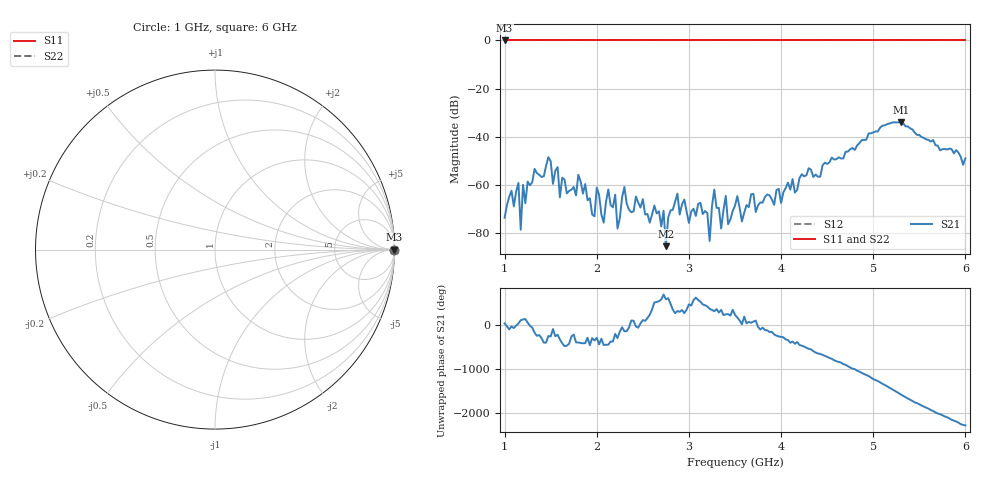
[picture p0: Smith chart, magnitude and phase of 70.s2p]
!Keysight Technologies N9926A: A.08.19
!Date: Sunday, 01 March 2026 13:33:32
!Timezone: (GMT-06:00) Central Time (US & Canada)
!Model: N9926A
!Serial: MY53102721
!GPS Latitude:
!GPS Longitude:
!GPS TimeStamp: 0001-01-01 00:00:00Z
!GPS Seconds Since Last Read: 0
!CHECKSUM:1704124798
!Correction: S11()S21(ON U)S12()S22()
!S2P File: Measurements:S11,S21,S12,S22:
# Hz S DB R 50
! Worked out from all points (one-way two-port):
!   201 points, 1 GHz to 6 GHz, reference 50 ohm
!   highest |S21| = -33.84 dB at 5.3 GHz (marker M1); lowest = -85.3 dB at 2.75 GHz (marker M2)
!   lowest |S11| = 0.0 dB at 1 GHz (marker M3)
!   |S11| at or under -10 dB: nowhere
!   |S22| runs from 0.0 to 0.0 dB; largest |S21 - S12| = 1
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1e9  0.00 0.0  -73.58 37.8  0.00 0.0  0.00 0.0
1.15e9  0.00 0.0  -59.10 35.7  0.00 0.0  0.00 0.0
1.175e9  0.00 0.0  -78.50 108.1  0.00 0.0  0.00 0.0
1.2e9  0.00 0.0  -59.88 127.1  0.00 0.0  0.00 0.0
1.475e9  0.00 0.0  -48.39 111.3  0.00 0.0  0.00 0.0
1.6e9  0.00 0.0  -65.09 33.5  0.00 0.0  0.00 0.0
1.85e9  0.00 0.0  -63.53 -55.4  0.00 0.0  0.00 0.0
2.075e9  0.00 0.0  -75.57 -93.8  0.00 0.0  0.00 0.0
2.2e9  0.00 0.0  -63.99 158.4  0.00 0.0  0.00 0.0
2.225e9  0.00 0.0  -78.03 63.2  0.00 0.0  0.00 0.0
2.3e9  0.00 0.0  -60.76 -142.1  0.00 0.0  0.00 0.0
2.675e9  0.00 0.0  -70.84 -179.9  0.00 0.0  0.00 0.0
2.75e9  0.00 0.0  -85.33 -135.5  0.00 0.0  0.00 0.0
2.875e9  0.00 0.0  -63.55 -42.6  0.00 0.0  0.00 0.0
3.225e9  0.00 0.0  -83.18 7.2  0.00 0.0  0.00 0.0
3.275e9  0.00 0.0  -61.86 -46.9  0.00 0.0  0.00 0.0
3.35e9  0.00 0.0  -78.03 -16.3  0.00 0.0  0.00 0.0
3.5e9  0.00 0.0  -68.55 -128.0  0.00 0.0  0.00 0.0
4.35e9  0.00 0.0  -56.63 126.1  0.00 0.0  0.00 0.0
5.175e9  0.00 0.0  -34.46 16.6  0.00 0.0  0.00 0.0
5.3e9  0.00 0.0  -33.84 -137.2  0.00 0.0  0.00 0.0
6e9  0.00 0.0  -48.89 -118.4  0.00 0.0  0.00 0.0
